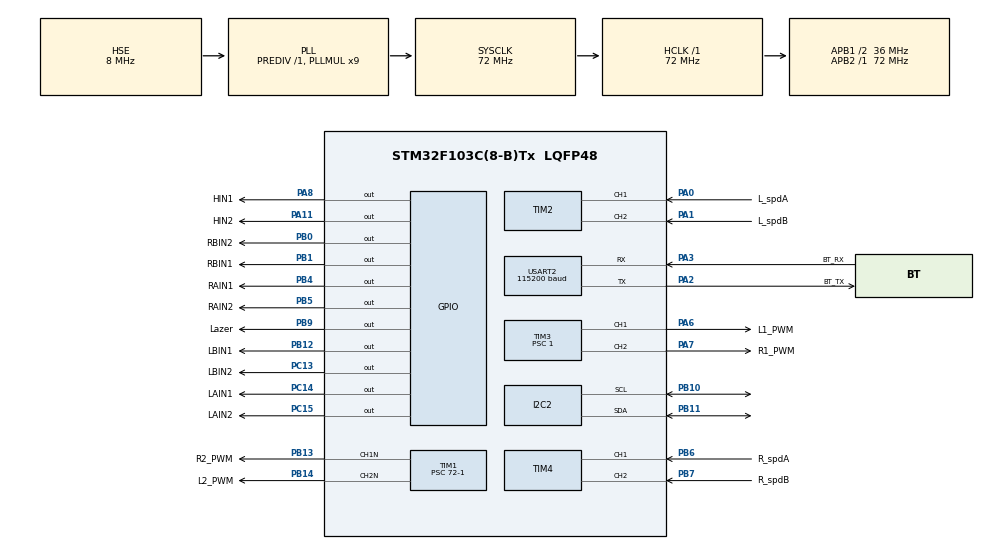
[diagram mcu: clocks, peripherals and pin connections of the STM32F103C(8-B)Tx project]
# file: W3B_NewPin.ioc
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Mcu.Family=STM32F1
Mcu.Name=STM32F103C(8-B)Tx
Mcu.Package=LQFP48
NVIC.PriorityGroup=NVIC_PRIORITYGROUP_4
NVIC.USART2_IRQn=true\:0\:0\:false\:false\:true\:true\:true\:true
PA0-WKUP.GPIO_Label=L_spdA
PA0-WKUP.Signal=S_TIM2_CH1_ETR
PA1.GPIO_Label=L_spdB
PA1.Signal=S_TIM2_CH2
PA11.GPIO_Label=HIN2
PA11.Signal=GPIO_Output
PA13.Mode=Serial_Wire
PA13.Signal=SYS_JTMS-SWDIO
PA14.Mode=Serial_Wire
PA14.Signal=SYS_JTCK-SWCLK
PA2.GPIO_Label=BT_TX
PA2.Mode=Asynchronous
PA2.Signal=USART2_TX
PA3.GPIO_Label=BT_RX
PA3.Mode=Asynchronous
PA3.Signal=USART2_RX
PA6.GPIO_Label=L1_PWM
PA6.Signal=S_TIM3_CH1
PA7.GPIO_Label=R1_PWM
PA7.Signal=S_TIM3_CH2
PA8.GPIO_Label=HIN1
PA8.Signal=GPIO_Output
PB0.GPIO_Label=RBIN2
PB0.Signal=GPIO_Output
PB1.GPIO_Label=RBIN1
PB1.Signal=GPIO_Output
PB10.Mode=I2C
PB10.Signal=I2C2_SCL
PB11.Mode=I2C
PB11.Signal=I2C2_SDA
PB12.GPIO_Label=LBIN1
PB12.Signal=GPIO_Output
PB13.GPIO_Label=R2_PWM
PB13.Mode=PWM Generation1 CH1N
PB13.Signal=TIM1_CH1N
PB14.GPIO_Label=L2_PWM
PB14.Mode=PWM Generation2 CH2N
PB14.Signal=TIM1_CH2N
PB4.GPIO_Label=RAIN1
PB4.Signal=GPIO_Output
PB5.GPIO_Label=RAIN2
PB5.Signal=GPIO_Output
PB6.GPIO_Label=R_spdA
PB6.Signal=S_TIM4_CH1
PB7.GPIO_Label=R_spdB
PB7.Signal=S_TIM4_CH2
PB9.GPIO_Label=Lazer
PB9.Signal=GPIO_Output
PC13-TAMPER-RTC.GPIO_Label=LBIN2
PC13-TAMPER-RTC.Signal=GPIO_Output
PC14-OSC32_IN.GPIO_Label=LAIN1
PC14-OSC32_IN.Signal=GPIO_Output
PC15-OSC32_OUT.GPIO_Label=LAIN2
PC15-OSC32_OUT.Signal=GPIO_Output
PD0-OSC_IN.Mode=HSE-External-Oscillator
PD0-OSC_IN.Signal=RCC_OSC_IN
PD1-OSC_OUT.Mode=HSE-External-Oscillator
PD1-OSC_OUT.Signal=RCC_OSC_OUT
ProjectManager.HeapSize=0x200
ProjectManager.StackSize=0x400
ProjectManager.TargetToolchain=CMake
RCC.AHBFreq_Value=72000000
RCC.APB1CLKDivider=RCC_HCLK_DIV2
RCC.APB1Freq_Value=36000000
RCC.APB1TimFreq_Value=72000000
RCC.APB2Freq_Value=72000000
RCC.APB2TimFreq_Value=72000000
RCC.HCLKFreq_Value=72000000
RCC.PLLMUL=RCC_PLL_MUL9
RCC.PLLSourceVirtual=RCC_PLLSOURCE_HSE
RCC.SYSCLKFreq_VALUE=72000000
RCC.SYSCLKSource=RCC_SYSCLKSOURCE_PLLCLK
RCC.USBFreq_Value=72000000
SH.S_TIM2_CH1_ETR.0=TIM2_CH1,Encoder_Interface
SH.S_TIM2_CH2.0=TIM2_CH2,Encoder_Interface
SH.S_TIM3_CH1.0=TIM3_CH1,PWM Generation1 CH1
SH.S_TIM3_CH2.0=TIM3_CH2,PWM Generation2 CH2
SH.S_TIM4_CH1.0=TIM4_CH1,Encoder_Interface
SH.S_TIM4_CH2.0=TIM4_CH2,Encoder_Interface
TIM1.AutoReloadPreload=TIM_AUTORELOAD_PRELOAD_ENABLE
TIM1.Channel-PWM\ Generation1\ CH1N=TIM_CHANNEL_1
TIM1.Channel-PWM\ Generation2\ CH2N=TIM_CHANNEL_2
TIM1.Period=100-1
TIM1.Prescaler=72-1
TIM2.EncoderMode=TIM_ENCODERMODE_TI12
TIM2.IC1Filter=10
TIM2.IC2Filter=10
TIM3.Channel-PWM\ Generation1\ CH1=TIM_CHANNEL_1
TIM3.Channel-PWM\ Generation2\ CH2=TIM_CHANNEL_2
TIM3.Period=1800-1
TIM3.Prescaler=1
TIM4.EncoderMode=TIM_ENCODERMODE_TI12
TIM4.IC1Filter=10
TIM4.IC2Filter=10
USART2.BaudRate=115200
USART2.VirtualMode=VM_ASYNC
VP_TIM1_VS_ClockSourceINT.Mode=Internal
VP_TIM3_VS_ClockSourceINT.Mode=Internal
board=custom

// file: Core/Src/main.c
/* USER CODE BEGIN Header */
/**
  ******************************************************************************
  * @file           : main.c
  * @brief          : Main program body
  ******************************************************************************
  * @attention
  *
  * Copyright (c) 2026 STMicroelectronics.
  * All rights reserved.
  *
  * This software is licensed under terms that can be found in the LICENSE file
  * in the root directory of this software component.
  * If no LICENSE file comes with this software, it is provided AS-IS.
  *
  ******************************************************************************
  */
/* USER CODE END Header */
#include "main.h"
#include "i2c.h"
#include "stm32f1xx_hal.h"
#include "tim.h"
#include "usart.h"
#include "gpio.h"

/* USER CODE BEGIN Includes */
#include <stdint.h>
#include <string.h>
#include <stdlib.h>
#include "pca9685.h"
#include "wheel_control.h"
/* #include "oled.h" */
/* USER CODE END Includes */

/* USER CODE BEGIN PTD */
typedef struct
{
  float filteredInputRaw;
  uint16_t targetInputRaw;
  uint8_t initialized;
} ServoSliderLpfState_t;

typedef struct
{
  uint16_t stateId;
  uint16_t gimbalAngleDeg;
  uint16_t upperAngleDeg;
  uint16_t middleAngleDeg;
  uint16_t lowerAngleDeg;
  uint16_t flowerAngleDeg;
  uint16_t clampAngleDeg;
  uint16_t trunkAngleDeg;
} ServoStatePreset_t;

/* USER CODE END PTD */

/* USER CODE BEGIN PD */
#define OLED_UPDATE_MS 100U
/* Encoder calibration: left motor max measured speed in counts per second. */
#define LEFT_ENCODER_MAX_CPS 9400
#define RIGHT_ENCODER_MAX_CPS 9400
#define JOY_Y_ACTIVE_THRESHOLD_PCT 60
#define JOY_X_ACTIVE_THRESHOLD_PCT 60
#define JOY_TIMEOUT_MS 500U
#define UART_FRAME_BUF_SIZE 64U

#define SERVO_ADDR_7BIT 0x40U
#define SERVO_PWM_HZ 50U
#define SERVO_MIN_PULSE_US 500U
#define SERVO_MAX_PULSE_US 2500U
#define SERVO_ANGLE_180_MAX 180U
#define SERVO_ANGLE_270_MAX 270U
/* Slider input range from Bluetooth packets [s,id,x]/[f,id,x].
 * Default uses angle-like range 0~180; if app sends ADC raw set MAX to 4095.
 */
#define SERVO_SLIDER_INPUT_MIN 0U
#define SERVO_SLIDER_INPUT_MAX 180U
/* 0~1: smaller alpha gives smoother but slower response. */
#define SERVO_SLIDER_LPF_ALPHA 0.18f
/* Lower arm servo: stronger smoothing for slower, steadier convergence. */
#define SERVO_SLIDER_LPF_ALPHA_LOWER 0.08f

#define SERVO_SLIDER_GIMBAL_ID 1
#define SERVO_SLIDER_SPEED_ID 0
#define SERVO_SLIDER_UPPER_ID 3
#define SERVO_SLIDER_MIDDLE_ID 4
#define SERVO_SLIDER_LOWER_ID 5

#define SERVO_CH_TRUNK 8U
#define SERVO_CH_GIMBAL 9U
#define SERVO_CH_LOWER 10U
#define SERVO_CH_MIDDLE 11U
#define SERVO_CH_UPPER 12U
#define SERVO_CH_FLOWER 14U
#define SERVO_CH_CLAMP 15U

#define FLOWER_MIN_ANGLE 0
#define FLOWER_MAX_ANGLE 90
#define FLOWER_INIT_ANGLE 90
#define FLOWER_SPEED_DEG_PER_SEC 30
#define FLOWER_STEP_PERIOD_MS 20U

#define CLAMP_CLOSE_ANGLE 100
#define CLAMP_OPEN_ANGLE 20
#define TRUNK_RETRACT_ANGLE 33
#define TRUNK_OPEN_ANGLE 120

#define GIMBAL_INIT_ANGLE 135U
#define UPPER_INIT_ANGLE 90U
#define MIDDLE_INIT_ANGLE 90U
#define LOWER_INIT_ANGLE 90U

#define SERVO_STATE_KEEP_ANGLE 0xFFFFU

/* Bluetooth state packet: (x), x is state id. */
/* Add more states with SERVO_STATE_n_* macros, then append into servoStatePresets[]. */
#define SERVO_STATE_1_ID 1U
#define SERVO_STATE_1_GIMBAL_ANGLE SERVO_STATE_KEEP_ANGLE
#define SERVO_STATE_1_UPPER_ANGLE 132U
#define SERVO_STATE_1_MIDDLE_ANGLE 14U
#define SERVO_STATE_1_LOWER_ANGLE 90U
#define SERVO_STATE_1_FLOWER_ANGLE SERVO_STATE_KEEP_ANGLE
#define SERVO_STATE_1_CLAMP_ANGLE SERVO_STATE_KEEP_ANGLE
#define SERVO_STATE_1_TRUNK_ANGLE SERVO_STATE_KEEP_ANGLE

/* State transition smoothing: servo angle changes use limited speed instead of jump. */
#define SERVO_STATE_TRANSITION_SPEED_DPS 45U
#define SERVO_STATE_TRANSITION_PERIOD_MS 20U
#define SERVO_STATE_TARGET_INVALID (-1)

/* Mecanum lateral speed ratio: strafe = forward/backward * 3/4. */
#define K_MECANUM_LATERAL_SCALE_NUM 3
#define K_MECANUM_LATERAL_SCALE_DEN 4
#define K_FB_LOW_SPEED_DIRECT_THRESHOLD_PCT 60

/* USER CODE END PD */

/* USER CODE BEGIN PM */
static int16_t ClampSpeedPercent(int16_t speedPct)
{
  if (speedPct > 100)
  {
    return 100;
  }
  if (speedPct < -100)
  {
    return -100;
  }
  return speedPct;
}

static uint16_t PercentToPwmAbs(int16_t speedPct, uint32_t period)
{
  int32_t absPct = (speedPct >= 0) ? (int32_t)speedPct : -(int32_t)speedPct;
  if (period == 0U)
  {
    return 0U;
  }

  if (absPct > 100)
  {
    absPct = 100;
  }

  uint32_t duty = ((uint32_t)absPct * period) / 100U;
  if (duty > period)
  {
    duty = period;
  }

  return (uint16_t)duty;
}

static uint16_t PwmCompareForComplementary(uint16_t duty, uint32_t period)
{
  if (period == 0U)
  {
    return 0U;
  }
  if (duty > period)
  {
    duty = (uint16_t)period;
  }
  return (uint16_t)(period - duty);
}

static int16_t PwmCmdToPercent(int16_t pwmCmd, uint32_t period)
{
  if (period == 0U)
  {
    return 0;
  }

  int32_t pct = ((int32_t)pwmCmd * 100) / (int32_t)period;
  if (pct > 100)
  {
    pct = 100;
  }
  else if (pct < -100)
  {
    pct = -100;
  }
  return (int16_t)pct;
}

void SetSpeed_LA(int16_t Speed)
{
  int16_t speedPct = ClampSpeedPercent(Speed);
  uint16_t duty = PercentToPwmAbs(speedPct, htim3.Init.Period);

  if (speedPct > 0)
  {
    HAL_GPIO_WritePin(LAIN1_GPIO_Port, LAIN1_Pin, GPIO_PIN_SET);
    HAL_GPIO_WritePin(LAIN2_GPIO_Port, LAIN2_Pin, GPIO_PIN_RESET);
  }
  else if (speedPct < 0)
  {
    HAL_GPIO_WritePin(LAIN1_GPIO_Port, LAIN1_Pin, GPIO_PIN_RESET);
    HAL_GPIO_WritePin(LAIN2_GPIO_Port, LAIN2_Pin, GPIO_PIN_SET);
  }
  else
  {
    HAL_GPIO_WritePin(LAIN1_GPIO_Port, LAIN1_Pin, GPIO_PIN_RESET);
    HAL_GPIO_WritePin(LAIN2_GPIO_Port, LAIN2_Pin, GPIO_PIN_RESET);
  }

  __HAL_TIM_SET_COMPARE(&htim3, TIM_CHANNEL_1, (uint32_t)duty);
}

void SetSpeed_LB(int16_t Speed)
{
  int16_t speedPct = ClampSpeedPercent(Speed);
  uint16_t duty = PercentToPwmAbs(speedPct, htim1.Init.Period);
  uint16_t cmp = PwmCompareForComplementary(duty, htim1.Init.Period);

  if (speedPct > 0)
  {
    HAL_GPIO_WritePin(LBIN1_GPIO_Port, LBIN1_Pin, GPIO_PIN_SET);
    HAL_GPIO_WritePin(LBIN2_GPIO_Port, LBIN2_Pin, GPIO_PIN_RESET);
  }
  else if (speedPct < 0)
  {
    HAL_GPIO_WritePin(LBIN1_GPIO_Port, LBIN1_Pin, GPIO_PIN_RESET);
    HAL_GPIO_WritePin(LBIN2_GPIO_Port, LBIN2_Pin, GPIO_PIN_SET);
  }
  else
  {
    HAL_GPIO_WritePin(LBIN1_GPIO_Port, LBIN1_Pin, GPIO_PIN_RESET);
    HAL_GPIO_WritePin(LBIN2_GPIO_Port, LBIN2_Pin, GPIO_PIN_RESET);
  }

  __HAL_TIM_SET_COMPARE(&htim1, TIM_CHANNEL_2, (uint32_t)cmp);
}

void SetSpeed_RA(int16_t Speed)
{
  int16_t speedPct = ClampSpeedPercent(Speed);
  uint16_t duty = PercentToPwmAbs(speedPct, htim3.Init.Period);

  if (speedPct > 0)
  {
    HAL_GPIO_WritePin(RAIN1_GPIO_Port, RAIN1_Pin, GPIO_PIN_RESET);
    HAL_GPIO_WritePin(RAIN2_GPIO_Port, RAIN2_Pin, GPIO_PIN_SET);
  }
  else if (speedPct < 0)
  {
    HAL_GPIO_WritePin(RAIN1_GPIO_Port, RAIN1_Pin, GPIO_PIN_SET);
    HAL_GPIO_WritePin(RAIN2_GPIO_Port, RAIN2_Pin, GPIO_PIN_RESET);
  }
  else
  {
    HAL_GPIO_WritePin(RAIN1_GPIO_Port, RAIN1_Pin, GPIO_PIN_RESET);
    HAL_GPIO_WritePin(RAIN2_GPIO_Port, RAIN2_Pin, GPIO_PIN_RESET);
  }

  __HAL_TIM_SET_COMPARE(&htim3, TIM_CHANNEL_2, (uint32_t)duty);
}

void SetSpeed_RB(int16_t Speed)
{
  int16_t speedPct = ClampSpeedPercent(Speed);
  uint16_t duty = PercentToPwmAbs(speedPct, htim1.Init.Period);
  uint16_t cmp = PwmCompareForComplementary(duty, htim1.Init.Period);

  if (speedPct > 0)
  {
    HAL_GPIO_WritePin(RBIN1_GPIO_Port, RBIN1_Pin, GPIO_PIN_RESET);
    HAL_GPIO_WritePin(RBIN2_GPIO_Port, RBIN2_Pin, GPIO_PIN_SET);
  }
  else if (speedPct < 0)
  {
    HAL_GPIO_WritePin(RBIN1_GPIO_Port, RBIN1_Pin, GPIO_PIN_SET);
    HAL_GPIO_WritePin(RBIN2_GPIO_Port, RBIN2_Pin, GPIO_PIN_RESET);
  }
  else
  {
    HAL_GPIO_WritePin(RBIN1_GPIO_Port, RBIN1_Pin, GPIO_PIN_RESET);
    HAL_GPIO_WritePin(RBIN2_GPIO_Port, RBIN2_Pin, GPIO_PIN_RESET);
  }

  __HAL_TIM_SET_COMPARE(&htim1, TIM_CHANNEL_1, (uint32_t)cmp);
}

void SetSpeed_L(int16_t Speed)
{
  SetSpeed_LA(Speed);
  SetSpeed_LB(Speed);
}

void SetSpeed_R(int16_t Speed)
{
  SetSpeed_RA(Speed);
  SetSpeed_RB(Speed);
}

void SetSpeed_H(int16_t Speed)
{
    int16_t speedPct = ClampSpeedPercent(Speed);
    if (speedPct > 0)
    {
      /* H motor forward */
      HAL_GPIO_WritePin(HIN1_GPIO_Port, HIN1_Pin, GPIO_PIN_SET);
      HAL_GPIO_WritePin(HIN2_GPIO_Port, HIN2_Pin, GPIO_PIN_RESET);
    }
    else if (speedPct < 0)
    {
      /* H motor reverse */
      HAL_GPIO_WritePin(HIN1_GPIO_Port, HIN1_Pin, GPIO_PIN_RESET);
      HAL_GPIO_WritePin(HIN2_GPIO_Port, HIN2_Pin, GPIO_PIN_SET);
    }
    else
    {
      /* stop: both low */
      HAL_GPIO_WritePin(HIN1_GPIO_Port, HIN1_Pin, GPIO_PIN_RESET);
      HAL_GPIO_WritePin(HIN2_GPIO_Port, HIN2_Pin, GPIO_PIN_RESET);
    }
}
/* USER CODE END PM */

/* USER CODE BEGIN PV */
uint8_t rx_data = 0;

int16_t SpeedA = 0;
int16_t SpeedB = 0;
/* UART packet buffer for assembling incoming bytes */
static char uart_rx_buf[UART_FRAME_BUF_SIZE];
static uint8_t uart_rx_idx = 0;
static uint8_t uart_in_frame = 0;
static uint8_t uart_frame_end = 0;
/* mailbox: always keep only latest completed frame */
static volatile char uart_latest_frame[UART_FRAME_BUF_SIZE];
static volatile uint8_t uart_latest_ready = 0;
static volatile uint8_t uart_latest_len = 0;
/* joystick filters/state */
#define JOY_FILTER_SIZE 1
static int16_t joyLxBuf[JOY_FILTER_SIZE];
static int16_t joyLyBuf[JOY_FILTER_SIZE];
static int16_t joyRxBuf[JOY_FILTER_SIZE];
static uint8_t joyFilterPos = 0;
static uint8_t joyFilterCount = 0;
static int16_t keyDriveSpeedPct = 50;
static WheelControl_t wheelControl = {0};
static int16_t gimbalLastApplied = -1;
static int16_t upperLastApplied = -1;
static int16_t middleLastApplied = -1;
static int16_t lowerLastApplied = -1;
static int16_t clampLastApplied = -1;
static int16_t trunkLastApplied = -1;
static ServoSliderLpfState_t upperSliderLpf = {0};
static ServoSliderLpfState_t middleSliderLpf = {0};
static ServoSliderLpfState_t lowerSliderLpf = {0};
static int32_t flowerAngle_mdeg = 0;
static int16_t flowerLastApplied = -1;
static int8_t flowerDir = 0;
static uint8_t flowerRunning = 0;
static uint32_t flowerLastTick = 0;
/* -1: left strafe, 0: stop/normal mode, +1: right strafe */
static volatile int8_t mecanumLateralCmd = 0;
/* Direct-drive bypass for modes that should not pass through S-curve. */
static int16_t directDriveLeftPct = 0;
static int16_t directDriveRightPct = 0;
static uint8_t directDriveEnabled = 0;
// static uint32_t last_oled_update_tick = 0;
static int16_t stateTargetGimbal = SERVO_STATE_TARGET_INVALID;
static int16_t stateTargetUpper = SERVO_STATE_TARGET_INVALID;
static int16_t stateTargetMiddle = SERVO_STATE_TARGET_INVALID;
static int16_t stateTargetLower = SERVO_STATE_TARGET_INVALID;
static int16_t stateTargetFlower = SERVO_STATE_TARGET_INVALID;
static int16_t stateTargetClamp = SERVO_STATE_TARGET_INVALID;
static int16_t stateTargetTrunk = SERVO_STATE_TARGET_INVALID;
static uint32_t stateTransitionLastTick = 0;

static const ServoStatePreset_t servoStatePresets[] =
{
  {
    SERVO_STATE_1_ID,
    SERVO_STATE_1_GIMBAL_ANGLE,
    SERVO_STATE_1_UPPER_ANGLE,
    SERVO_STATE_1_MIDDLE_ANGLE,
    SERVO_STATE_1_LOWER_ANGLE,
    SERVO_STATE_1_FLOWER_ANGLE,
    SERVO_STATE_1_CLAMP_ANGLE,
    SERVO_STATE_1_TRUNK_ANGLE
  }
};

/* USER CODE END PV */

void SystemClock_Config(void);
/* USER CODE BEGIN PFP */
static void ProcessJoystickPacket(char *buf);
static void ProcessServoPacket(char *buf);
static void ProcessServoFinalPacket(char *buf);
static void ProcessDualServoPacket(char *buf);
static void ProcessStatePacket(const char *buf);
static void ProcessUartBytes(void);
static void ProcessLatestUartFrame(void);
static uint8_t ParseSignedInt16Fast(const char **cursor, int16_t *outValue);
static char AsciiToLowerFast(char ch);
static void StartUartReceive(void);
static HAL_StatusTypeDef ServoSetAngle180ByChannel(uint8_t channel, uint16_t angleDeg);
static HAL_StatusTypeDef ServoSetAngle270ByChannel(uint8_t channel, uint16_t angleDeg);
static HAL_StatusTypeDef ServoSetPulseUsByChannel(uint8_t channel, uint16_t pulseUs);
static uint16_t ClampServoSliderInputRaw(int16_t inputRaw);
static uint16_t ServoSliderLowPassUpdate(ServoSliderLpfState_t *state, float alpha);
static uint16_t ServoSliderInputToAngle180(uint16_t inputRaw);
static uint16_t ServoSliderAngle180ToInput(uint16_t angleDeg);
static void ServoSliderSetTargetInput(ServoSliderLpfState_t *state,
                                      int16_t inputRaw,
                                      int16_t currentAngleDeg);
static void ServoSliderApplySmoothedAngle180WithAlpha(uint8_t channel,
                                                      ServoSliderLpfState_t *state,
                                                      int16_t *lastAppliedAngle,
                                                      float alpha);
static void ServoSliderApplySmoothedAngle180(uint8_t channel,
                                             ServoSliderLpfState_t *state,
                                             int16_t *lastAppliedAngle);
static void UpdateServo180ByFilteredSliderInput(uint8_t channel,
                                              int16_t inputRaw,
                                              ServoSliderLpfState_t *filterState,
                                              int16_t *lastAppliedAngle);
static void UpdateServo180ByFinalSliderInput(uint8_t channel,
                                           int16_t inputRaw,
                                           ServoSliderLpfState_t *filterState,
                                           int16_t *lastAppliedAngle);
static void FlowerHandSyncStep(void);
static void ApplyMecanumLateralCommand(int8_t lateralCmd, int16_t fallbackLeftPct, int16_t fallbackRightPct);
static const ServoStatePreset_t *FindServoStatePreset(uint16_t stateId);
static void ApplyStateServoAngle180(uint8_t channel,
                                    uint16_t targetAngle,
                                    int16_t *lastAppliedAngle,
                                    ServoSliderLpfState_t *filterState);
static void ApplyStateServoAngle270(uint8_t channel,
                                    uint16_t targetAngle,
                                    int16_t *lastAppliedAngle);
static void ApplyServoStatePreset(const ServoStatePreset_t *preset);
static int16_t MoveAngleTowardTarget(int16_t currentAngle,
                                     int16_t targetAngle,
                                     uint16_t maxStepDeg);
static void ServoStateTransitionStep(void);

/* USER CODE END PFP */

/* USER CODE BEGIN 0 */
static char AsciiToLowerFast(char ch)
{
  if (ch >= 'A' && ch <= 'Z')
  {
    return (char)(ch + ('a' - 'A'));
  }
  return ch;
}

static uint8_t ParseSignedInt16Fast(const char **cursor, int16_t *outValue)
{
  const char *p;
  int32_t sign = 1;
  int32_t value = 0;
  uint8_t hasDigit = 0U;

  if (cursor == NULL || *cursor == NULL || outValue == NULL)
  {
    return 0U;
  }

  p = *cursor;

  if (*p == '+')
  {
    p++;
  }
  else if (*p == '-')
  {
    sign = -1;
    p++;
  }

  while (*p >= '0' && *p <= '9')
  {
    hasDigit = 1U;
    value = (value * 10) + (int32_t)(*p - '0');
    if (value > 32768)
    {
      return 0U;
    }
    p++;
  }

  if (hasDigit == 0U)
  {
    return 0U;
  }

  value *= sign;
  if (value < -32768 || value > 32767)
  {
    return 0U;
  }

  *outValue = (int16_t)value;
  *cursor = p;
  return 1U;
}

static void StartUartReceive(void)
{
  (void)HAL_UART_Receive_IT(&huart2, &rx_data, 1);
}

static void ProcessUartBytes(void)
{
  ProcessLatestUartFrame();
}

static void ApplyMecanumLateralCommand(int8_t lateralCmd, int16_t fallbackLeftPct, int16_t fallbackRightPct)
{
  int16_t lateralPct = (int16_t)((((int32_t)keyDriveSpeedPct * K_MECANUM_LATERAL_SCALE_NUM) + (K_MECANUM_LATERAL_SCALE_DEN / 2)) / K_MECANUM_LATERAL_SCALE_DEN);
  lateralPct = ClampSpeedPercent(lateralPct);

  if (lateralCmd < 0)
  {
    /* Left strafe: FL-, RL+, FR+, RR- */
    SetSpeed_LA((int16_t)(-lateralPct));
    SetSpeed_LB(lateralPct);
    SetSpeed_RA(lateralPct);
    SetSpeed_RB((int16_t)(-lateralPct));
    return;
  }

  if (lateralCmd > 0)
  {
    /* Right strafe: FL+, RL-, FR-, RR+ */
    SetSpeed_LA(lateralPct);
    SetSpeed_LB((int16_t)(-lateralPct));
    SetSpeed_RA((int16_t)(-lateralPct));
    SetSpeed_RB(lateralPct);
    return;
  }

  SetSpeed_L(fallbackLeftPct);
  SetSpeed_R(fallbackRightPct);
}

static const ServoStatePreset_t *FindServoStatePreset(uint16_t stateId)
{
  uint32_t i;

  for (i = 0U; i < (uint32_t)(sizeof(servoStatePresets) / sizeof(servoStatePresets[0])); i++)
  {
    if (servoStatePresets[i].stateId == stateId)
    {
      return &servoStatePresets[i];
    }
  }

  return NULL;
}

static void ApplyStateServoAngle180(uint8_t channel,
                                    uint16_t targetAngle,
                                    int16_t *lastAppliedAngle,
                                    ServoSliderLpfState_t *filterState)
{
  uint16_t angleDeg;
  uint16_t inputRaw;

  if (targetAngle == SERVO_STATE_KEEP_ANGLE || lastAppliedAngle == NULL)
  {
    return;
  }

  angleDeg = targetAngle;
  if (angleDeg > SERVO_ANGLE_180_MAX)
  {
    angleDeg = SERVO_ANGLE_180_MAX;
  }

  if ((int16_t)angleDeg != *lastAppliedAngle)
  {
    (void)ServoSetAngle180ByChannel(channel, angleDeg);
    *lastAppliedAngle = (int16_t)angleDeg;
  }

  if (filterState != NULL)
  {
    inputRaw = ServoSliderAngle180ToInput(angleDeg);
    filterState->targetInputRaw = inputRaw;
    filterState->filteredInputRaw = (float)inputRaw;
    filterState->initialized = 1U;
  }
}

static void ApplyStateServoAngle270(uint8_t channel,
                                    uint16_t targetAngle,
                                    int16_t *lastAppliedAngle)
{
  uint16_t angleDeg;

  if (targetAngle == SERVO_STATE_KEEP_ANGLE || lastAppliedAngle == NULL)
  {
    return;
  }

  angleDeg = targetAngle;
  if (angleDeg > SERVO_ANGLE_270_MAX)
  {
    angleDeg = SERVO_ANGLE_270_MAX;
  }

  if ((int16_t)angleDeg != *lastAppliedAngle)
  {
    (void)ServoSetAngle270ByChannel(channel, angleDeg);
    *lastAppliedAngle = (int16_t)angleDeg;
  }
}

static int16_t MoveAngleTowardTarget(int16_t currentAngle,
                                     int16_t targetAngle,
                                     uint16_t maxStepDeg)
{
  if (maxStepDeg == 0U || currentAngle == targetAngle)
  {
    return currentAngle;
  }

  if (currentAngle < targetAngle)
  {
    int32_t nextAngle = (int32_t)currentAngle + (int32_t)maxStepDeg;
    if (nextAngle > (int32_t)targetAngle)
    {
      nextAngle = (int32_t)targetAngle;
    }
    return (int16_t)nextAngle;
  }

  {
    int32_t nextAngle = (int32_t)currentAngle - (int32_t)maxStepDeg;
    if (nextAngle < (int32_t)targetAngle)
    {
      nextAngle = (int32_t)targetAngle;
    }
    return (int16_t)nextAngle;
  }
}

static void ServoStateTransitionStep(void)
{
  uint32_t nowTick;
  uint32_t elapsedMs;
  uint32_t stepDeg;
  int16_t nextAngle;

  nowTick = HAL_GetTick();
  elapsedMs = nowTick - stateTransitionLastTick;
  if (elapsedMs < SERVO_STATE_TRANSITION_PERIOD_MS)
  {
    return;
  }
  stateTransitionLastTick = nowTick;

  stepDeg = ((uint32_t)SERVO_STATE_TRANSITION_SPEED_DPS * elapsedMs + 999U) / 1000U;
  if (stepDeg == 0U)
  {
    stepDeg = 1U;
  }

  if (stateTargetGimbal >= 0 && gimbalLastApplied >= 0)
  {
    nextAngle = MoveAngleTowardTarget(gimbalLastApplied, stateTargetGimbal, (uint16_t)stepDeg);
    ApplyStateServoAngle270(SERVO_CH_GIMBAL, (uint16_t)nextAngle, &gimbalLastApplied);
    if (nextAngle == stateTargetGimbal)
    {
      stateTargetGimbal = SERVO_STATE_TARGET_INVALID;
    }
  }

  if (stateTargetUpper >= 0 && upperLastApplied >= 0)
  {
    nextAngle = MoveAngleTowardTarget(upperLastApplied, stateTargetUpper, (uint16_t)stepDeg);
    ApplyStateServoAngle180(SERVO_CH_UPPER, (uint16_t)nextAngle, &upperLastApplied, &upperSliderLpf);
    if (nextAngle == stateTargetUpper)
    {
      stateTargetUpper = SERVO_STATE_TARGET_INVALID;
    }
  }

  if (stateTargetMiddle >= 0 && middleLastApplied >= 0)
  {
    nextAngle = MoveAngleTowardTarget(middleLastApplied, stateTargetMiddle, (uint16_t)stepDeg);
    ApplyStateServoAngle180(SERVO_CH_MIDDLE, (uint16_t)nextAngle, &middleLastApplied, &middleSliderLpf);
    if (nextAngle == stateTargetMiddle)
    {
      stateTargetMiddle = SERVO_STATE_TARGET_INVALID;
    }
  }

  if (stateTargetLower >= 0 && lowerLastApplied >= 0)
  {
    nextAngle = MoveAngleTowardTarget(lowerLastApplied, stateTargetLower, (uint16_t)stepDeg);
    ApplyStateServoAngle180(SERVO_CH_LOWER, (uint16_t)nextAngle, &lowerLastApplied, &lowerSliderLpf);
    if (nextAngle == stateTargetLower)
    {
      stateTargetLower = SERVO_STATE_TARGET_INVALID;
    }
  }

  if (stateTargetFlower >= 0 && flowerLastApplied >= 0)
  {
    nextAngle = MoveAngleTowardTarget(flowerLastApplied, stateTargetFlower, (uint16_t)stepDeg);
    ApplyStateServoAngle180(SERVO_CH_FLOWER, (uint16_t)nextAngle, &flowerLastApplied, NULL);
    flowerAngle_mdeg = (int32_t)flowerLastApplied * 1000;
    if (nextAngle == stateTargetFlower)
    {
      stateTargetFlower = SERVO_STATE_TARGET_INVALID;
    }
  }

  if (stateTargetClamp >= 0 && clampLastApplied >= 0)
  {
    nextAngle = MoveAngleTowardTarget(clampLastApplied, stateTargetClamp, (uint16_t)stepDeg);
    ApplyStateServoAngle180(SERVO_CH_CLAMP, (uint16_t)nextAngle, &clampLastApplied, NULL);
    if (nextAngle == stateTargetClamp)
    {
      stateTargetClamp = SERVO_STATE_TARGET_INVALID;
    }
  }

  if (stateTargetTrunk >= 0 && trunkLastApplied >= 0)
  {
    nextAngle = MoveAngleTowardTarget(trunkLastApplied, stateTargetTrunk, (uint16_t)stepDeg);
    ApplyStateServoAngle180(SERVO_CH_TRUNK, (uint16_t)nextAngle, &trunkLastApplied, NULL);
    if (nextAngle == stateTargetTrunk)
    {
      stateTargetTrunk = SERVO_STATE_TARGET_INVALID;
    }
  }
}

static void ApplyServoStatePreset(const ServoStatePreset_t *preset)
{
  if (preset == NULL)
  {
    return;
  }

  if (preset->gimbalAngleDeg != SERVO_STATE_KEEP_ANGLE)
  {
    uint16_t target = preset->gimbalAngleDeg;
    if (target > SERVO_ANGLE_270_MAX)
    {
      target = SERVO_ANGLE_270_MAX;
    }
    stateTargetGimbal = (int16_t)target;
  }
  else
  {
    stateTargetGimbal = SERVO_STATE_TARGET_INVALID;
  }

  if (preset->upperAngleDeg != SERVO_STATE_KEEP_ANGLE)
  {
    uint16_t target = preset->upperAngleDeg;
    if (target > SERVO_ANGLE_180_MAX)
    {
      target = SERVO_ANGLE_180_MAX;
    }
    stateTargetUpper = (int16_t)target;
  }
  else
  {
    stateTargetUpper = SERVO_STATE_TARGET_INVALID;
  }

  if (preset->middleAngleDeg != SERVO_STATE_KEEP_ANGLE)
  {
    uint16_t target = preset->middleAngleDeg;
    if (target > SERVO_ANGLE_180_MAX)
    {
      target = SERVO_ANGLE_180_MAX;
    }
    stateTargetMiddle = (int16_t)target;
  }
  else
  {
    stateTargetMiddle = SERVO_STATE_TARGET_INVALID;
  }

  if (preset->lowerAngleDeg != SERVO_STATE_KEEP_ANGLE)
  {
    uint16_t target = preset->lowerAngleDeg;
    if (target > SERVO_ANGLE_180_MAX)
    {
      target = SERVO_ANGLE_180_MAX;
    }
    stateTargetLower = (int16_t)target;
  }
  else
  {
    stateTargetLower = SERVO_STATE_TARGET_INVALID;
  }

  if (preset->flowerAngleDeg != SERVO_STATE_KEEP_ANGLE)
  {
    uint16_t target = preset->flowerAngleDeg;
    if (target > SERVO_ANGLE_180_MAX)
    {
      target = SERVO_ANGLE_180_MAX;
    }
    flowerRunning = 0U;
    flowerDir = 0;
    stateTargetFlower = (int16_t)target;
  }
  else
  {
    stateTargetFlower = SERVO_STATE_TARGET_INVALID;
  }

  if (preset->clampAngleDeg != SERVO_STATE_KEEP_ANGLE)
  {
    uint16_t target = preset->clampAngleDeg;
    if (target > SERVO_ANGLE_180_MAX)
    {
      target = SERVO_ANGLE_180_MAX;
    }
    stateTargetClamp = (int16_t)target;
  }
  else
  {
    stateTargetClamp = SERVO_STATE_TARGET_INVALID;
  }

  if (preset->trunkAngleDeg != SERVO_STATE_KEEP_ANGLE)
  {
    uint16_t target = preset->trunkAngleDeg;
    if (target > SERVO_ANGLE_180_MAX)
    {
      target = SERVO_ANGLE_180_MAX;
    }
    stateTargetTrunk = (int16_t)target;
  }
  else
  {
    stateTargetTrunk = SERVO_STATE_TARGET_INVALID;
  }
}

static void ProcessStatePacket(const char *buf)
{
  const char *p = buf;
  int16_t stateIdRaw;
  const ServoStatePreset_t *preset;

  if (p == NULL || p[0] != '(')
  {
    return;
  }

  p++;
  if (ParseSignedInt16Fast(&p, &stateIdRaw) == 0U || *p != ')' || p[1] != '\0')
  {
    return;
  }

  if (stateIdRaw < 0)
  {
    return;
  }

  preset = FindServoStatePreset((uint16_t)stateIdRaw);
  if (preset == NULL)
  {
    return;
  }

  ApplyServoStatePreset(preset);
}

static void ProcessLatestUartFrame(void)
{
  char frame[UART_FRAME_BUF_SIZE];
  uint8_t frameLen;

  if (!uart_latest_ready)
  {
    return;
  }

  __disable_irq();
  frameLen = uart_latest_len;
  if (frameLen >= (uint8_t)sizeof(frame))
  {
    frameLen = (uint8_t)(sizeof(frame) - 1U);
  }
  memcpy(frame, (const void *)uart_latest_frame, frameLen);
  frame[frameLen] = '\0';
  uart_latest_ready = 0;
  __enable_irq();

  if (frameLen < 3U || frame[0] == '\0')
  {
    return;
  }

  if (frame[0] == '(')
  {
    ProcessStatePacket(frame);
    return;
  }

  if (frameLen < 4U || frame[0] != '[' || frame[1] == '\0')
  {
    return;
  }

  if (AsciiToLowerFast(frame[1]) == 'j')
  {
    ProcessJoystickPacket(frame);
  }
  else if (AsciiToLowerFast(frame[1]) == 's')
  {
    ProcessServoPacket(frame);
  }
  else if (AsciiToLowerFast(frame[1]) == 'f')
  {
    ProcessServoFinalPacket(frame);
  }
  else if (AsciiToLowerFast(frame[1]) == 'k')
  {
    ProcessDualServoPacket(frame);
  }
}

static HAL_StatusTypeDef ServoSetPulseUsByChannel(uint8_t channel, uint16_t pulseUs)
{
  if (pulseUs < SERVO_MIN_PULSE_US)
  {
    pulseUs = SERVO_MIN_PULSE_US;
  }
  else if (pulseUs > SERVO_MAX_PULSE_US)
  {
    pulseUs = SERVO_MAX_PULSE_US;
  }

  return PCA9685_SetServoPulseUs(&hi2c2, SERVO_ADDR_7BIT, channel, pulseUs, SERVO_PWM_HZ);
}

static HAL_StatusTypeDef ServoSetAngle180ByChannel(uint8_t channel, uint16_t angleDeg)
{
  uint32_t pulseUs;

  if (angleDeg > SERVO_ANGLE_180_MAX)
  {
    angleDeg = SERVO_ANGLE_180_MAX;
  }

  pulseUs = SERVO_MIN_PULSE_US +
            (((uint32_t)(SERVO_MAX_PULSE_US - SERVO_MIN_PULSE_US) * angleDeg) / SERVO_ANGLE_180_MAX);

  return ServoSetPulseUsByChannel(channel, (uint16_t)pulseUs);
}

static HAL_StatusTypeDef ServoSetAngle270ByChannel(uint8_t channel, uint16_t angleDeg)
{
  uint32_t pulseUs;

  if (angleDeg > SERVO_ANGLE_270_MAX)
  {
    angleDeg = SERVO_ANGLE_270_MAX;
  }

  pulseUs = SERVO_MIN_PULSE_US +
            (((uint32_t)(SERVO_MAX_PULSE_US - SERVO_MIN_PULSE_US) * angleDeg) /
             SERVO_ANGLE_270_MAX);

  return ServoSetPulseUsByChannel(channel, (uint16_t)pulseUs);
}

static uint16_t ClampServoSliderInputRaw(int16_t inputRaw)
{
  if (inputRaw <= (int16_t)SERVO_SLIDER_INPUT_MIN)
  {
    return SERVO_SLIDER_INPUT_MIN;
  }

  if (inputRaw >= (int16_t)SERVO_SLIDER_INPUT_MAX)
  {
    return SERVO_SLIDER_INPUT_MAX;
  }

  return (uint16_t)inputRaw;
}

static uint16_t ServoSliderLowPassUpdate(ServoSliderLpfState_t *state, float alpha)
{
  float filtered;

  if (state == NULL || state->initialized == 0U)
  {
    return SERVO_SLIDER_INPUT_MIN;
  }

  if (alpha < 0.0f)
  {
    alpha = 0.0f;
  }
  else if (alpha > 1.0f)
  {
    alpha = 1.0f;
  }

  state->filteredInputRaw += alpha * ((float)state->targetInputRaw - state->filteredInputRaw);

  filtered = state->filteredInputRaw;
  if (filtered < (float)SERVO_SLIDER_INPUT_MIN)
  {
    filtered = (float)SERVO_SLIDER_INPUT_MIN;
  }
  else if (filtered > (float)SERVO_SLIDER_INPUT_MAX)
  {
    filtered = (float)SERVO_SLIDER_INPUT_MAX;
  }

  return (uint16_t)(filtered + 0.5f);
}

static uint16_t ServoSliderInputToAngle180(uint16_t inputRaw)
{
  uint32_t inputSpan = (uint32_t)(SERVO_SLIDER_INPUT_MAX - SERVO_SLIDER_INPUT_MIN);
  uint32_t angle;

  if (inputRaw <= SERVO_SLIDER_INPUT_MIN)
  {
    return 0U;
  }

  if (inputRaw >= SERVO_SLIDER_INPUT_MAX)
  {
    return SERVO_ANGLE_180_MAX;
  }

  angle = ((uint32_t)(inputRaw - SERVO_SLIDER_INPUT_MIN) * SERVO_ANGLE_180_MAX + (inputSpan / 2U)) / inputSpan;
  return (uint16_t)angle;
}

static uint16_t ServoSliderAngle180ToInput(uint16_t angleDeg)
{
  uint32_t inputSpan = (uint32_t)(SERVO_SLIDER_INPUT_MAX - SERVO_SLIDER_INPUT_MIN);
  uint32_t inputRaw;

  if (angleDeg > SERVO_ANGLE_180_MAX)
  {
    angleDeg = SERVO_ANGLE_180_MAX;
  }

  inputRaw = SERVO_SLIDER_INPUT_MIN +
             ((inputSpan * (uint32_t)angleDeg + (SERVO_ANGLE_180_MAX / 2U)) / SERVO_ANGLE_180_MAX);
  return (uint16_t)inputRaw;
}

static void ServoSliderSetTargetInput(ServoSliderLpfState_t *state,
                                      int16_t inputRaw,
                                      int16_t currentAngleDeg)
{
  uint16_t inputRawClamped;
  uint16_t startAngle;

  if (state == NULL)
  {
    return;
  }

  inputRawClamped = ClampServoSliderInputRaw(inputRaw);

  if (state->initialized == 0U)
  {
    if (currentAngleDeg < 0)
    {
      startAngle = 0U;
    }
    else
    {
      startAngle = (uint16_t)currentAngleDeg;
      if (startAngle > SERVO_ANGLE_180_MAX)
      {
        startAngle = SERVO_ANGLE_180_MAX;
      }
    }

    state->filteredInputRaw = (float)ServoSliderAngle180ToInput(startAngle);
    state->initialized = 1U;
  }

  state->targetInputRaw = inputRawClamped;
}

static void ServoSliderApplySmoothedAngle180(uint8_t channel,
                                             ServoSliderLpfState_t *state,
                                             int16_t *lastAppliedAngle)
{
  ServoSliderApplySmoothedAngle180WithAlpha(
    channel,
    state,
    lastAppliedAngle,
    SERVO_SLIDER_LPF_ALPHA);
}

static void ServoSliderApplySmoothedAngle180WithAlpha(uint8_t channel,
                                                      ServoSliderLpfState_t *state,
                                                      int16_t *lastAppliedAngle,
                                                      float alpha)
{
  uint16_t inputRawFiltered;
  uint16_t targetAngle;

  if (state == NULL || lastAppliedAngle == NULL || state->initialized == 0U)
  {
    return;
  }

  inputRawFiltered = ServoSliderLowPassUpdate(state, alpha);
  targetAngle = ServoSliderInputToAngle180(inputRawFiltered);

  if ((int16_t)targetAngle != *lastAppliedAngle)
  {
    (void)ServoSetAngle180ByChannel(channel, targetAngle);
    *lastAppliedAngle = (int16_t)targetAngle;
  }
}

static void UpdateServo180ByFilteredSliderInput(uint8_t channel,
                                              int16_t inputRaw,
                                              ServoSliderLpfState_t *filterState,
                                              int16_t *lastAppliedAngle)
{
  (void)channel;

  if (lastAppliedAngle == NULL)
  {
    return;
  }

  /* Process packet only updates target; smoothing step runs in main loop. */
  ServoSliderSetTargetInput(filterState, inputRaw, *lastAppliedAngle);
}

static void UpdateServo180ByFinalSliderInput(uint8_t channel,
                                           int16_t inputRaw,
                                           ServoSliderLpfState_t *filterState,
                                           int16_t *lastAppliedAngle)
{
  (void)channel;

  if (lastAppliedAngle == NULL)
  {
    return;
  }

  /* Final packet also updates target; motion stays smooth and converges. */
  ServoSliderSetTargetInput(filterState, inputRaw, *lastAppliedAngle);
}

static void FlowerHandSyncStep(void)
{
  uint32_t nowTick;
  uint32_t elapsedMs;
  int32_t deltaMdeg;
  int32_t nextMdeg;
  int16_t nextAngle;

  if (flowerRunning == 0U || flowerDir == 0)
  {
    return;
  }

  nowTick = HAL_GetTick();
  elapsedMs = nowTick - flowerLastTick;
  if (elapsedMs < FLOWER_STEP_PERIOD_MS)
  {
    return;
  }
  flowerLastTick = nowTick;

  deltaMdeg = (int32_t)flowerDir * (int32_t)FLOWER_SPEED_DEG_PER_SEC * (int32_t)elapsedMs;
  nextMdeg = flowerAngle_mdeg + deltaMdeg;

  if (nextMdeg <= ((int32_t)FLOWER_MIN_ANGLE * 1000))
  {
    nextMdeg = (int32_t)FLOWER_MIN_ANGLE * 1000;
    flowerRunning = 0;
    flowerDir = 0;
  }
  else if (nextMdeg >= ((int32_t)FLOWER_MAX_ANGLE * 1000))
  {
    nextMdeg = (int32_t)FLOWER_MAX_ANGLE * 1000;
    flowerRunning = 0;
    flowerDir = 0;
  }

  flowerAngle_mdeg = nextMdeg;
  nextAngle = (int16_t)(flowerAngle_mdeg / 1000);

  if (nextAngle != flowerLastApplied)
  {
    (void)ServoSetAngle180ByChannel(SERVO_CH_FLOWER, (uint16_t)nextAngle);
    flowerLastApplied = nextAngle;
  }
}

/* USER CODE END 0 */

int main(void)
{

  /* MCU Configuration--------------------------------------------------------*/

  /* Reset of all peripherals, Initializes the Flash interface and the Systick. */
  HAL_Init();

  /* Configure the system clock */
  SystemClock_Config();

  /* Initialize all configured peripherals */
  MX_GPIO_Init();
  MX_USART2_UART_Init();
  MX_TIM3_Init();
  MX_TIM4_Init();
  MX_TIM2_Init();
  MX_I2C2_Init();
  MX_TIM1_Init();
  /* USER CODE BEGIN 2 */
  /*
  OLED_Init();
  OLED_Clear();
  OLED_ShowString(1, 1, "Speed A:");
  */

  HAL_TIM_PWM_Start(&htim3, TIM_CHANNEL_1);
  HAL_TIM_PWM_Start(&htim3, TIM_CHANNEL_2);
  HAL_TIM_PWM_Start(&htim1, TIM_CHANNEL_1);
  HAL_TIM_PWM_Start(&htim1, TIM_CHANNEL_2);
  HAL_TIMEx_PWMN_Start(&htim1, TIM_CHANNEL_1);
  HAL_TIMEx_PWMN_Start(&htim1, TIM_CHANNEL_2);
  if (HAL_TIM_Encoder_Start(&htim2, TIM_CHANNEL_ALL) != HAL_OK)
  {
    Error_Handler();
  }
  if (HAL_TIM_Encoder_Start(&htim4, TIM_CHANNEL_ALL) != HAL_OK)
  {
    Error_Handler();
  }

  WheelControl_Init(
    &wheelControl,
    LEFT_ENCODER_MAX_CPS,
    RIGHT_ENCODER_MAX_CPS,
    (uint16_t)htim3.Init.Period,
    JOY_TIMEOUT_MS,
    HAL_GetTick());

  HAL_StatusTypeDef pca_status = PCA9685_Init(&hi2c2, SERVO_ADDR_7BIT, SERVO_PWM_HZ);
  (void)pca_status;

  SetSpeed_L(0);
  SetSpeed_R(0);
  SetSpeed_H(0);

  (void)ServoSetAngle270ByChannel(SERVO_CH_GIMBAL, GIMBAL_INIT_ANGLE);
  gimbalLastApplied = (int16_t)GIMBAL_INIT_ANGLE;
  (void)ServoSetAngle180ByChannel(SERVO_CH_UPPER, UPPER_INIT_ANGLE);
  upperLastApplied = (int16_t)UPPER_INIT_ANGLE;
  (void)ServoSetAngle180ByChannel(SERVO_CH_MIDDLE, MIDDLE_INIT_ANGLE);
  middleLastApplied = (int16_t)MIDDLE_INIT_ANGLE;
  (void)ServoSetAngle180ByChannel(SERVO_CH_LOWER, LOWER_INIT_ANGLE);
  lowerLastApplied = (int16_t)LOWER_INIT_ANGLE;

  flowerAngle_mdeg = (int32_t)FLOWER_INIT_ANGLE * 1000;
  flowerLastApplied = FLOWER_INIT_ANGLE;
  flowerDir = 0;
  flowerRunning = 0;
  flowerLastTick = HAL_GetTick();
  (void)ServoSetAngle180ByChannel(SERVO_CH_FLOWER, (uint16_t)FLOWER_INIT_ANGLE);

  (void)ServoSetAngle180ByChannel(SERVO_CH_CLAMP, (uint16_t)CLAMP_OPEN_ANGLE);
  clampLastApplied = CLAMP_OPEN_ANGLE;
  (void)ServoSetAngle180ByChannel(SERVO_CH_TRUNK, (uint16_t)TRUNK_RETRACT_ANGLE);
  trunkLastApplied = TRUNK_RETRACT_ANGLE;

  mecanumLateralCmd = 0;
  stateTransitionLastTick = HAL_GetTick();
  StartUartReceive();

  /* USER CODE END 2 */

  /* Infinite loop */
  while (1)
  {

    /* USER CODE BEGIN 3 */
    ProcessUartBytes();
    uint32_t nowTick = HAL_GetTick();
    int16_t cmdL = 0;
    int16_t cmdR = 0;
    WheelControl_Step(&wheelControl, &htim2, &htim4, nowTick, &cmdL, &cmdR);
    int16_t cmdLPct = PwmCmdToPercent(cmdL, htim3.Init.Period);
    int16_t cmdRPct = PwmCmdToPercent(cmdR, htim3.Init.Period);
    int16_t applyLeftPct = cmdLPct;
    int16_t applyRightPct = cmdRPct;

    if ((nowTick - wheelControl.last_valid_rx_tick) > JOY_TIMEOUT_MS)
    {
      mecanumLateralCmd = 0;
      directDriveEnabled = 0U;
      directDriveLeftPct = 0;
      directDriveRightPct = 0;
      applyLeftPct = 0;
      applyRightPct = 0;
      WheelControl_SetTargetsPercent(&wheelControl, 0, 0);
    }
    else if (directDriveEnabled != 0U)
    {
      applyLeftPct = directDriveLeftPct;
      applyRightPct = directDriveRightPct;
    }

    ApplyMecanumLateralCommand(mecanumLateralCmd, applyLeftPct, applyRightPct);
    ServoStateTransitionStep();
    if (stateTargetUpper == SERVO_STATE_TARGET_INVALID)
    {
      ServoSliderApplySmoothedAngle180(SERVO_CH_UPPER, &upperSliderLpf, &upperLastApplied);
    }
    if (stateTargetMiddle == SERVO_STATE_TARGET_INVALID)
    {
      ServoSliderApplySmoothedAngle180(SERVO_CH_MIDDLE, &middleSliderLpf, &middleLastApplied);
    }
    if (stateTargetLower == SERVO_STATE_TARGET_INVALID)
    {
      ServoSliderApplySmoothedAngle180WithAlpha(
        SERVO_CH_LOWER,
        &lowerSliderLpf,
        &lowerLastApplied,
        SERVO_SLIDER_LPF_ALPHA_LOWER);
    }
    FlowerHandSyncStep();
    SpeedA = applyLeftPct;
    SpeedB = applyRightPct;

    __WFI();
  }
  /* USER CODE END 3 */
}

void SystemClock_Config(void)
{
  RCC_OscInitTypeDef RCC_OscInitStruct = {0};
  RCC_ClkInitTypeDef RCC_ClkInitStruct = {0};

  /** Initializes the RCC Oscillators according to the specified parameters
  * in the RCC_OscInitTypeDef structure.
  */
  RCC_OscInitStruct.OscillatorType = RCC_OSCILLATORTYPE_HSE;
  RCC_OscInitStruct.HSEState = RCC_HSE_ON;
  RCC_OscInitStruct.HSEPredivValue = RCC_HSE_PREDIV_DIV1;
  RCC_OscInitStruct.HSIState = RCC_HSI_ON;
  RCC_OscInitStruct.PLL.PLLState = RCC_PLL_ON;
  RCC_OscInitStruct.PLL.PLLSource = RCC_PLLSOURCE_HSE;
  RCC_OscInitStruct.PLL.PLLMUL = RCC_PLL_MUL9;
  if (HAL_RCC_OscConfig(&RCC_OscInitStruct) != HAL_OK)
  {
    Error_Handler();
  }

  /** Initializes the CPU, AHB and APB buses clocks
  */
  RCC_ClkInitStruct.ClockType = RCC_CLOCKTYPE_HCLK|RCC_CLOCKTYPE_SYSCLK
                              |RCC_CLOCKTYPE_PCLK1|RCC_CLOCKTYPE_PCLK2;
  RCC_ClkInitStruct.SYSCLKSource = RCC_SYSCLKSOURCE_PLLCLK;
  RCC_ClkInitStruct.AHBCLKDivider = RCC_SYSCLK_DIV1;
  RCC_ClkInitStruct.APB1CLKDivider = RCC_HCLK_DIV2;
  RCC_ClkInitStruct.APB2CLKDivider = RCC_HCLK_DIV1;

  if (HAL_RCC_ClockConfig(&RCC_ClkInitStruct, FLASH_LATENCY_2) != HAL_OK)
  {
    Error_Handler();
  }
}

/* USER CODE BEGIN 4 */
/* Parse joystick packet: format [j,Lx,Ly,Rx,Ry].
 * Ly: forward/backward constant speed trigger by threshold.
 * Lx: rotate (left=CCW, right=CW) by threshold.
 * Rx: mecanum strafe (left/right) by threshold.
 * Ry: reserved for future use.
 */
static void ProcessJoystickPacket(char *buf)
{
  const char *p = buf;
  int16_t Lx;
  int16_t Ly;
  int16_t Rx;
  int16_t Ry;

  if (p[0] != '[' || AsciiToLowerFast(p[1]) != 'j' || p[2] != ',') return;

  p += 3;
  if (ParseSignedInt16Fast(&p, &Lx) == 0U || *p != ',') return;
  p++;
  if (ParseSignedInt16Fast(&p, &Ly) == 0U || *p != ',') return;
  p++;
  if (ParseSignedInt16Fast(&p, &Rx) == 0U || *p != ',') return;
  p++;
  if (ParseSignedInt16Fast(&p, &Ry) == 0U || *p != ']' || p[1] != '\0') return;

  /* validate ranges */
  if (Lx < -100 || Lx > 100 || Ly < -100 || Ly > 100 || Rx < -100 || Rx > 100 || Ry < -100 || Ry > 100) return;

  /* valid packet received: update watchdog */
  WheelControl_MarkValidRx(&wheelControl, HAL_GetTick());

  /* push into moving average buffers */
  joyLxBuf[joyFilterPos] = (int16_t)Lx;
  joyLyBuf[joyFilterPos] = (int16_t)Ly;
  joyRxBuf[joyFilterPos] = (int16_t)Rx;
  joyFilterPos = (joyFilterPos + 1) % JOY_FILTER_SIZE;
  if (joyFilterCount < JOY_FILTER_SIZE) joyFilterCount++;

  int sumLx = 0;
  int sumLy = 0;
  int sumRx = 0;
  for (uint8_t i = 0; i < joyFilterCount; i++)
  {
    sumLx += joyLxBuf[i];
    sumLy += joyLyBuf[i];
    sumRx += joyRxBuf[i];
  }
  int16_t avgLx = (int16_t)(sumLx / (int)joyFilterCount);
  int16_t avgLy = (int16_t)(sumLy / (int)joyFilterCount);
  int16_t avgRx = (int16_t)(sumRx / (int)joyFilterCount);

  int16_t leftTargetPct = 0;
  int16_t rightTargetPct = 0;
  uint8_t forwardBackActive = 0U;
  uint8_t rotateActive = 0U;

  if (abs((int)avgLy) >= JOY_Y_ACTIVE_THRESHOLD_PCT)
  {
    int16_t fbPct = (avgLy > 0) ? keyDriveSpeedPct : (int16_t)(-keyDriveSpeedPct);
    leftTargetPct = fbPct;
    rightTargetPct = fbPct;
    forwardBackActive = 1U;
  }

  if (avgLx <= -JOY_X_ACTIVE_THRESHOLD_PCT)
  {
    leftTargetPct = (int16_t)(-keyDriveSpeedPct);
    rightTargetPct = keyDriveSpeedPct;
    rotateActive = 1U;
  }
  else if (avgLx >= JOY_X_ACTIVE_THRESHOLD_PCT)
  {
    leftTargetPct = keyDriveSpeedPct;
    rightTargetPct = (int16_t)(-keyDriveSpeedPct);
    rotateActive = 1U;
  }

  if (avgRx <= -JOY_X_ACTIVE_THRESHOLD_PCT)
  {
    mecanumLateralCmd = -1;
  }
  else if (avgRx >= JOY_X_ACTIVE_THRESHOLD_PCT)
  {
    mecanumLateralCmd = 1;
  }
  else
  {
    mecanumLateralCmd = 0;
  }

  if (mecanumLateralCmd != 0)
  {
    directDriveEnabled = 0U;
    WheelControl_SetTargetsPercent(&wheelControl, 0, 0);
    return;
  }

  if (rotateActive)
  {
    directDriveEnabled = 1U;
    directDriveLeftPct = leftTargetPct;
    directDriveRightPct = rightTargetPct;
    WheelControl_SetTargetsPercent(&wheelControl, 0, 0);
    return;
  }

  if (forwardBackActive && keyDriveSpeedPct < K_FB_LOW_SPEED_DIRECT_THRESHOLD_PCT)
  {
    directDriveEnabled = 1U;
    directDriveLeftPct = leftTargetPct;
    directDriveRightPct = rightTargetPct;
    WheelControl_SetTargetsPercent(&wheelControl, 0, 0);
    return;
  }

  directDriveEnabled = 0U;
  /* Forward/backward in normal speed range still uses S-curve tracking. */
  WheelControl_SetTargetsPercent(&wheelControl, leftTargetPct, rightTargetPct);
  /* OLED output disabled (hardware not installed) */
  /*
  if ((HAL_GetTick() - last_oled_update_tick) >= OLED_UPDATE_MS)
  {
    last_oled_update_tick = HAL_GetTick();
    char out[12];
    snprintf(out, sizeof(out), "%4d", lastAppliedA);
    OLED_ShowString(1, 8, out);
    snprintf(out, sizeof(out), "%4d", lastAppliedB);
    OLED_ShowString(2, 8, out);
  }
  */
}

/* Parse process packet [s,id,x]:
 * id=1 -> gimbal angle (CH9, 0~270), id=0 -> speed percent,
 * id=3/4/5 -> upper/middle/lower slider input value.
 */
static void ProcessServoPacket(char *buf)
{
  const char *p = buf;
  int16_t servoIdVal;
  int16_t inputVal;
  int servoId;
  int16_t targetAngle;

  if (p[0] != '[' || AsciiToLowerFast(p[1]) != 's' || p[2] != ',') return;

  p += 3;
  if (ParseSignedInt16Fast(&p, &servoIdVal) == 0U || *p != ',') return;
  p++;
  if (ParseSignedInt16Fast(&p, &inputVal) == 0U || *p != ']' || p[1] != '\0') return;

  servoId = (int)servoIdVal;

  if (servoId == SERVO_SLIDER_SPEED_ID)
  {
    int32_t speedPct = (int32_t)inputVal;
    if (speedPct < 0)
    {
      speedPct = -speedPct;
    }
    if (speedPct > 100)
    {
      speedPct = 100;
    }
    keyDriveSpeedPct = (int16_t)speedPct;
    return;
  }

  if (servoId == SERVO_SLIDER_GIMBAL_ID)
  {
    stateTargetGimbal = SERVO_STATE_TARGET_INVALID;
    targetAngle = (inputVal < 0) ? 0 : (int16_t)inputVal;

    if (targetAngle > (int16_t)SERVO_ANGLE_270_MAX)
    {
      targetAngle = (int16_t)SERVO_ANGLE_270_MAX;
    }

    if (targetAngle != gimbalLastApplied)
    {
      (void)ServoSetAngle270ByChannel(SERVO_CH_GIMBAL, (uint16_t)targetAngle);
      gimbalLastApplied = targetAngle;
    }
    return;
  }

  if (servoId == SERVO_SLIDER_UPPER_ID)
  {
    stateTargetUpper = SERVO_STATE_TARGET_INVALID;
    UpdateServo180ByFilteredSliderInput(SERVO_CH_UPPER,
                                      inputVal,
                                      &upperSliderLpf,
                                      &upperLastApplied);
    return;
  }

  if (servoId == SERVO_SLIDER_MIDDLE_ID)
  {
    stateTargetMiddle = SERVO_STATE_TARGET_INVALID;
    UpdateServo180ByFilteredSliderInput(SERVO_CH_MIDDLE,
                                      inputVal,
                                      &middleSliderLpf,
                                      &middleLastApplied);
    return;
  }

  if (servoId == SERVO_SLIDER_LOWER_ID)
  {
    stateTargetLower = SERVO_STATE_TARGET_INVALID;
    UpdateServo180ByFilteredSliderInput(SERVO_CH_LOWER,
                                      inputVal,
                                      &lowerSliderLpf,
                                      &lowerLastApplied);
  }
}

/* Parse final packet [f,id,x]:
 * id=3/4/5 -> upper/middle/lower final slider input value.
 */
static void ProcessServoFinalPacket(char *buf)
{
  const char *p = buf;
  int16_t servoIdVal;
  int16_t inputVal;
  int servoId;

  if (p[0] != '[' || AsciiToLowerFast(p[1]) != 'f' || p[2] != ',') return;

  p += 3;
  if (ParseSignedInt16Fast(&p, &servoIdVal) == 0U || *p != ',') return;
  p++;
  if (ParseSignedInt16Fast(&p, &inputVal) == 0U || *p != ']' || p[1] != '\0') return;

  servoId = (int)servoIdVal;

  if (servoId == SERVO_SLIDER_UPPER_ID)
  {
    stateTargetUpper = SERVO_STATE_TARGET_INVALID;
    UpdateServo180ByFinalSliderInput(SERVO_CH_UPPER,
                                   inputVal,
                                   &upperSliderLpf,
                                   &upperLastApplied);
    return;
  }

  if (servoId == SERVO_SLIDER_MIDDLE_ID)
  {
    stateTargetMiddle = SERVO_STATE_TARGET_INVALID;
    UpdateServo180ByFinalSliderInput(SERVO_CH_MIDDLE,
                                   inputVal,
                                   &middleSliderLpf,
                                   &middleLastApplied);
    return;
  }

  if (servoId == SERVO_SLIDER_LOWER_ID)
  {
    stateTargetLower = SERVO_STATE_TARGET_INVALID;
    UpdateServo180ByFinalSliderInput(SERVO_CH_LOWER,
                                   inputVal,
                                   &lowerSliderLpf,
                                   &lowerLastApplied);
  }
}

/* Parse shared packet: format [k,x,y]
 * q/e: flower hand angle increase/decrease (continuous while pressed)
 * u/d: clamp close/open (dual state)
 * i/o: trunk retract/open (dual state)
 * y: d/u, d = press, u = release
 */
static void ProcessDualServoPacket(char *buf)
{
  char moveCmd;
  char stateCmd;

  if (buf[0] != '[' || AsciiToLowerFast(buf[1]) != 'k' || buf[2] != ',') return;
  if (buf[4] != ',' || buf[6] != ']' || buf[7] != '\0') return;

  moveCmd = AsciiToLowerFast(buf[3]);
  stateCmd = AsciiToLowerFast(buf[5]);

  if (stateCmd == 'u')
  {
    if (moveCmd == 'q' || moveCmd == 'e')
    {
      flowerRunning = 0;
      flowerDir = 0;
    }

    return;
  }

  if (stateCmd != 'd')
  {
    return;
  }

  if (moveCmd == 'u')
  {
    stateTargetClamp = SERVO_STATE_TARGET_INVALID;
    if (clampLastApplied != CLAMP_CLOSE_ANGLE)
    {
      (void)ServoSetAngle180ByChannel(SERVO_CH_CLAMP, (uint16_t)CLAMP_CLOSE_ANGLE);
      clampLastApplied = CLAMP_CLOSE_ANGLE;
    }
    return;
  }

  if (moveCmd == 'd')
  {
    stateTargetClamp = SERVO_STATE_TARGET_INVALID;
    if (clampLastApplied != CLAMP_OPEN_ANGLE)
    {
      (void)ServoSetAngle180ByChannel(SERVO_CH_CLAMP, (uint16_t)CLAMP_OPEN_ANGLE);
      clampLastApplied = CLAMP_OPEN_ANGLE;
    }
    return;
  }

  if (moveCmd == 'i')
  {
    stateTargetTrunk = SERVO_STATE_TARGET_INVALID;
    if (trunkLastApplied != TRUNK_RETRACT_ANGLE)
    {
      (void)ServoSetAngle180ByChannel(SERVO_CH_TRUNK, (uint16_t)TRUNK_RETRACT_ANGLE);
      trunkLastApplied = TRUNK_RETRACT_ANGLE;
    }
    return;
  }

  if (moveCmd == 'o')
  {
    stateTargetTrunk = SERVO_STATE_TARGET_INVALID;
    if (trunkLastApplied != TRUNK_OPEN_ANGLE)
    {
      (void)ServoSetAngle180ByChannel(SERVO_CH_TRUNK, (uint16_t)TRUNK_OPEN_ANGLE);
      trunkLastApplied = TRUNK_OPEN_ANGLE;
    }
    return;
  }

  if (moveCmd == 'q')
  {
    stateTargetFlower = SERVO_STATE_TARGET_INVALID;
    flowerDir = 1;
    flowerRunning = 1;
    flowerLastTick = HAL_GetTick();
    return;
  }

  if (moveCmd == 'e')
  {
    stateTargetFlower = SERVO_STATE_TARGET_INVALID;
    flowerDir = -1;
    flowerRunning = 1;
    flowerLastTick = HAL_GetTick();
    return;
  }
}

void HAL_UART_RxCpltCallback(UART_HandleTypeDef *huart)
{
  if (huart->Instance == USART2)
  {
    uint8_t byte = rx_data;

    if (byte == '[' || byte == '(')
    {
      uart_in_frame = 1U;
      uart_rx_idx = 0U;
      uart_frame_end = (byte == '[') ? (uint8_t)']' : (uint8_t)')';
    }

    if (uart_in_frame)
    {
      if (uart_rx_idx < (uint8_t)(sizeof(uart_rx_buf) - 1))
      {
        uart_rx_buf[uart_rx_idx++] = (char)byte;
        uart_rx_buf[uart_rx_idx] = '\0';

        if (byte == uart_frame_end)
        {
          uint8_t frameLen = uart_rx_idx;
          if (frameLen >= (uint8_t)sizeof(uart_latest_frame))
          {
            frameLen = (uint8_t)(sizeof(uart_latest_frame) - 1U);
          }
          memcpy((void *)uart_latest_frame, uart_rx_buf, frameLen);
          uart_latest_frame[frameLen] = '\0';
          uart_latest_len = frameLen;
          uart_latest_ready = 1U;
          uart_in_frame = 0;
          uart_rx_idx = 0;
          uart_frame_end = 0U;
          uart_rx_buf[0] = '\0';
        }
      }
      else
      {
        uart_in_frame = 0;
        uart_rx_idx = 0;
        uart_frame_end = 0U;
        uart_rx_buf[0] = '\0';
      }
    }

    /* restart receive */
    StartUartReceive();
  }
}

void HAL_UART_ErrorCallback(UART_HandleTypeDef *huart)
{
  if (huart->Instance == USART2)
  {
    uart_in_frame = 0U;
    uart_rx_idx = 0U;
    uart_frame_end = 0U;
    uart_rx_buf[0] = '\0';
    StartUartReceive();
  }
}
/* USER CODE END 4 */

void Error_Handler(void)
{
  __disable_irq();
  while (1)
  {
  }
}
